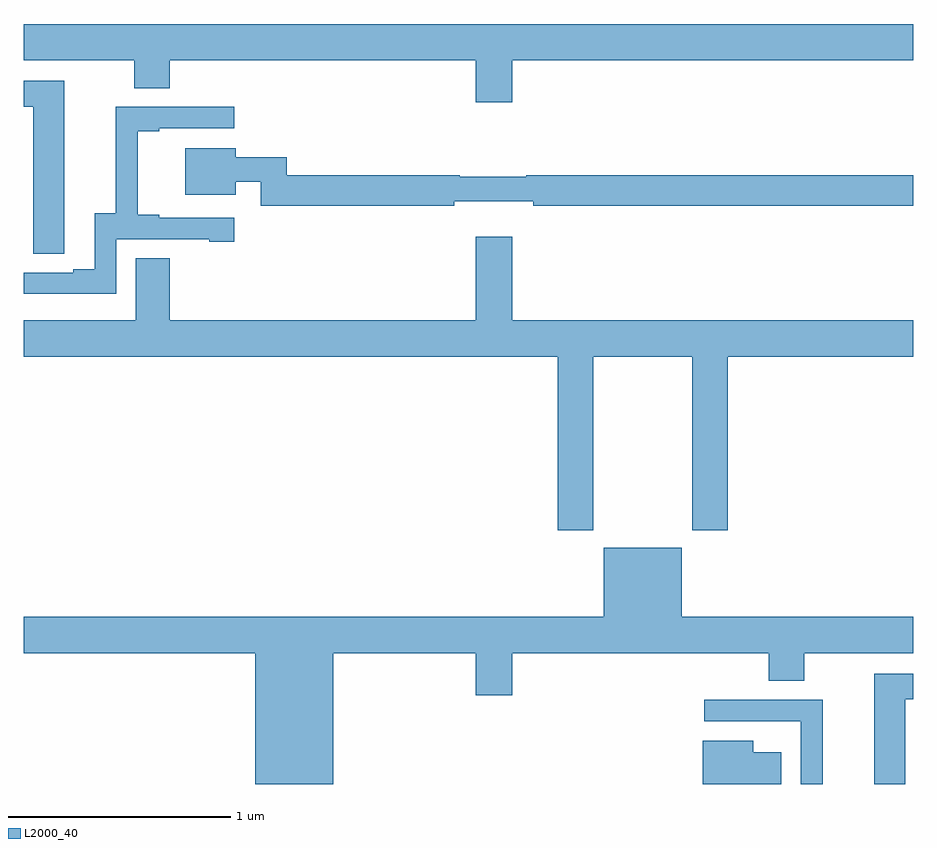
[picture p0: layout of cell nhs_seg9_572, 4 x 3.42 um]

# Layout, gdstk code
import gdstk
lib = gdstk.Library(unit=1e-6, precision=1e-09)
def P(c, l, *ps):  # polygons
    for p in ps: c.add(gdstk.Polygon(p, *l))
L2000_40 = (2000, 40)

nhs_seg9_572 = lib.new_cell('nhs_seg9_572')
P(nhs_seg9_572, L2000_40, [(141.196,1197.752),(143,1197.752),(143,1197.916),(139,1197.916),(139,1197.752),(139.498,1197.752),(139.498,1197.628),(139.658,1197.628),(139.658,1197.752),(141.032,1197.752),(141.032,1197.564),(141.196,1197.564)],
  [(139.182,1196.992),(139.183,1196.992),(139.183,1197.66),(139,1197.66),(139,1197.544),(139.043,1197.544),(139.043,1196.884),(139.182,1196.884)],
  [(139.416,1196.949),(139.835,1196.949),(139.835,1196.937),(139.948,1196.937),(139.948,1197.045),(139.609,1197.045),(139.609,1197.058),(139.514,1197.058),(139.514,1197.435),(139.609,1197.435),(139.609,1197.447),(139.948,1197.447),(139.948,1197.543),(139.414,1197.543),(139.414,1197.065),(139.319,1197.065),(139.319,1196.814),(139.223,1196.814),(139.223,1196.799),(139,1196.799),(139,1196.703),(139.416,1196.703)],
  [(140.936,1197.119),(141.292,1197.119),(141.292,1197.1),(143,1197.1),(143,1197.236),(141.26,1197.236),(141.26,1197.229),(140.96,1197.229),(140.96,1197.236),(140.183,1197.236),(140.183,1197.316),(139.954,1197.316),(139.954,1197.358),(139.727,1197.358),(139.727,1197.149),(139.954,1197.149),(139.954,1197.206),(140.067,1197.206),(140.067,1197.1),(140.936,1197.1)],
  [(141.561,1196.42),(142.006,1196.42),(142.006,1195.641),(142.166,1195.641),(142.166,1196.42),(143,1196.42),(143,1196.584),(141.196,1196.584),(141.196,1196.959),(141.032,1196.959),(141.032,1196.584),(139.658,1196.584),(139.658,1196.864),(139.505,1196.864),(139.505,1196.584),(139,1196.584),(139,1196.42),(141.401,1196.42),(141.401,1195.641),(141.561,1195.641)],
  [(140.392,1195.088),(141.032,1195.088),(141.032,1194.9),(141.196,1194.9),(141.196,1195.088),(142.349,1195.088),(142.349,1194.964),(142.509,1194.964),(142.509,1195.088),(143,1195.088),(143,1195.252),(141.958,1195.252),(141.958,1195.561),(141.608,1195.561),(141.608,1195.252),(139,1195.252),(139,1195.088),(140.042,1195.088),(140.042,1194.5),(140.392,1194.5)],
  [(142.963,1194.88),(143,1194.88),(143,1194.996),(142.823,1194.996),(142.823,1194.5),(142.963,1194.5)],
  [(142.593,1194.879),(142.059,1194.879),(142.059,1194.783),(142.493,1194.783),(142.493,1194.782),(142.494,1194.782),(142.494,1194.5),(142.593,1194.5)],
  [(142.405,1194.643),(142.279,1194.643),(142.279,1194.694),(142.052,1194.694),(142.052,1194.5),(142.405,1194.5)])

lib.write_gds('nhs_seg9_572.gds')
